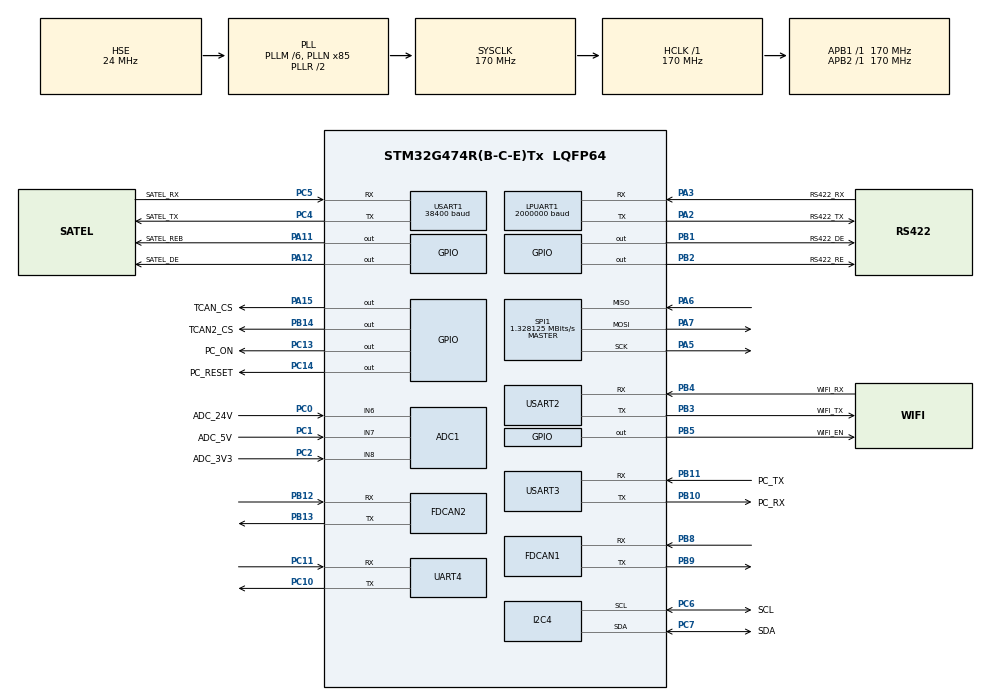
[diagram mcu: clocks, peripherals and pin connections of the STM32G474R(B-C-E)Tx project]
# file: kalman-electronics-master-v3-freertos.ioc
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ADC1.Channel-0\#ChannelRegularConversion=ADC_CHANNEL_7
ADC1.NbrOfConversionFlag=1
ADC1.OffsetNumber-0\#ChannelRegularConversion=ADC_OFFSET_NONE
ADC1.Rank-0\#ChannelRegularConversion=1
ADC1.SamplingTime-0\#ChannelRegularConversion=ADC_SAMPLETIME_2CYCLES_5
ADC1.master=1
Dma.LPUART1_RX.6.Direction=DMA_PERIPH_TO_MEMORY
Dma.LPUART1_RX.6.EventEnable=DISABLE
Dma.LPUART1_RX.6.Instance=DMA1_Channel7
Dma.LPUART1_RX.6.MemDataAlignment=DMA_MDATAALIGN_BYTE
Dma.LPUART1_RX.6.MemInc=DMA_MINC_ENABLE
Dma.LPUART1_RX.6.Mode=DMA_CIRCULAR
Dma.LPUART1_RX.6.PeriphDataAlignment=DMA_PDATAALIGN_BYTE
Dma.LPUART1_RX.6.PeriphInc=DMA_PINC_DISABLE
Dma.LPUART1_RX.6.Polarity=HAL_DMAMUX_REQ_GEN_RISING
Dma.LPUART1_RX.6.Priority=DMA_PRIORITY_LOW
Dma.LPUART1_RX.6.RequestNumber=1
Dma.LPUART1_RX.6.SignalID=NONE
Dma.LPUART1_RX.6.SyncEnable=DISABLE
Dma.LPUART1_RX.6.SyncPolarity=HAL_DMAMUX_SYNC_NO_EVENT
Dma.LPUART1_RX.6.SyncRequestNumber=1
Dma.LPUART1_RX.6.SyncSignalID=NONE
Dma.LPUART1_TX.7.Direction=DMA_MEMORY_TO_PERIPH
Dma.LPUART1_TX.7.EventEnable=DISABLE
Dma.LPUART1_TX.7.Instance=DMA1_Channel8
Dma.LPUART1_TX.7.MemDataAlignment=DMA_MDATAALIGN_BYTE
Dma.LPUART1_TX.7.MemInc=DMA_MINC_ENABLE
Dma.LPUART1_TX.7.Mode=DMA_NORMAL
Dma.LPUART1_TX.7.PeriphDataAlignment=DMA_PDATAALIGN_BYTE
Dma.LPUART1_TX.7.PeriphInc=DMA_PINC_DISABLE
Dma.LPUART1_TX.7.Polarity=HAL_DMAMUX_REQ_GEN_RISING
Dma.LPUART1_TX.7.Priority=DMA_PRIORITY_LOW
Dma.LPUART1_TX.7.RequestNumber=1
Dma.LPUART1_TX.7.SignalID=NONE
Dma.LPUART1_TX.7.SyncEnable=DISABLE
Dma.LPUART1_TX.7.SyncPolarity=HAL_DMAMUX_SYNC_NO_EVENT
Dma.LPUART1_TX.7.SyncRequestNumber=1
Dma.LPUART1_TX.7.SyncSignalID=NONE
Dma.Request0=USART1_RX
Dma.Request1=USART2_RX
Dma.Request2=USART3_RX
Dma.Request3=USART1_TX
Dma.Request4=USART2_TX
Dma.Request5=USART3_TX
Dma.Request6=LPUART1_RX
Dma.Request7=LPUART1_TX
Dma.USART1_RX.0.Direction=DMA_PERIPH_TO_MEMORY
Dma.USART1_RX.0.EventEnable=DISABLE
Dma.USART1_RX.0.Instance=DMA1_Channel1
Dma.USART1_RX.0.MemDataAlignment=DMA_MDATAALIGN_BYTE
Dma.USART1_RX.0.MemInc=DMA_MINC_ENABLE
Dma.USART1_RX.0.Mode=DMA_CIRCULAR
Dma.USART1_RX.0.PeriphDataAlignment=DMA_PDATAALIGN_BYTE
Dma.USART1_RX.0.PeriphInc=DMA_PINC_DISABLE
Dma.USART1_RX.0.Polarity=HAL_DMAMUX_REQ_GEN_RISING
Dma.USART1_RX.0.Priority=DMA_PRIORITY_LOW
Dma.USART1_RX.0.RequestNumber=1
Dma.USART1_RX.0.SignalID=NONE
Dma.USART1_RX.0.SyncEnable=DISABLE
Dma.USART1_RX.0.SyncPolarity=HAL_DMAMUX_SYNC_NO_EVENT
Dma.USART1_RX.0.SyncRequestNumber=1
Dma.USART1_RX.0.SyncSignalID=NONE
Dma.USART1_TX.3.Direction=DMA_MEMORY_TO_PERIPH
Dma.USART1_TX.3.EventEnable=DISABLE
Dma.USART1_TX.3.Instance=DMA1_Channel4
Dma.USART1_TX.3.MemDataAlignment=DMA_MDATAALIGN_BYTE
Dma.USART1_TX.3.MemInc=DMA_MINC_ENABLE
Dma.USART1_TX.3.Mode=DMA_NORMAL
Dma.USART1_TX.3.PeriphDataAlignment=DMA_PDATAALIGN_BYTE
Dma.USART1_TX.3.PeriphInc=DMA_PINC_DISABLE
Dma.USART1_TX.3.Polarity=HAL_DMAMUX_REQ_GEN_RISING
Dma.USART1_TX.3.Priority=DMA_PRIORITY_LOW
Dma.USART1_TX.3.RequestNumber=1
Dma.USART1_TX.3.SignalID=NONE
Dma.USART1_TX.3.SyncEnable=DISABLE
Dma.USART1_TX.3.SyncPolarity=HAL_DMAMUX_SYNC_NO_EVENT
Dma.USART1_TX.3.SyncRequestNumber=1
Dma.USART1_TX.3.SyncSignalID=NONE
Dma.USART2_RX.1.Direction=DMA_PERIPH_TO_MEMORY
Dma.USART2_RX.1.EventEnable=DISABLE
Dma.USART2_RX.1.Instance=DMA1_Channel2
Dma.USART2_RX.1.MemDataAlignment=DMA_MDATAALIGN_BYTE
Dma.USART2_RX.1.MemInc=DMA_MINC_ENABLE
Dma.USART2_RX.1.Mode=DMA_CIRCULAR
Dma.USART2_RX.1.PeriphDataAlignment=DMA_PDATAALIGN_BYTE
Dma.USART2_RX.1.PeriphInc=DMA_PINC_DISABLE
Dma.USART2_RX.1.Polarity=HAL_DMAMUX_REQ_GEN_RISING
Dma.USART2_RX.1.Priority=DMA_PRIORITY_LOW
Dma.USART2_RX.1.RequestNumber=1
Dma.USART2_RX.1.SignalID=NONE
Dma.USART2_RX.1.SyncEnable=DISABLE
Dma.USART2_RX.1.SyncPolarity=HAL_DMAMUX_SYNC_NO_EVENT
Dma.USART2_RX.1.SyncRequestNumber=1
Dma.USART2_RX.1.SyncSignalID=NONE
Dma.USART2_TX.4.Direction=DMA_MEMORY_TO_PERIPH
Dma.USART2_TX.4.EventEnable=DISABLE
Dma.USART2_TX.4.Instance=DMA1_Channel5
Dma.USART2_TX.4.MemDataAlignment=DMA_MDATAALIGN_BYTE
Dma.USART2_TX.4.MemInc=DMA_MINC_ENABLE
Dma.USART2_TX.4.Mode=DMA_NORMAL
Dma.USART2_TX.4.PeriphDataAlignment=DMA_PDATAALIGN_BYTE
Dma.USART2_TX.4.PeriphInc=DMA_PINC_DISABLE
Dma.USART2_TX.4.Polarity=HAL_DMAMUX_REQ_GEN_RISING
Dma.USART2_TX.4.Priority=DMA_PRIORITY_LOW
Dma.USART2_TX.4.RequestNumber=1
Dma.USART2_TX.4.SignalID=NONE
Dma.USART2_TX.4.SyncEnable=DISABLE
Dma.USART2_TX.4.SyncPolarity=HAL_DMAMUX_SYNC_NO_EVENT
Dma.USART2_TX.4.SyncRequestNumber=1
Dma.USART2_TX.4.SyncSignalID=NONE
Dma.USART3_RX.2.Direction=DMA_PERIPH_TO_MEMORY
Dma.USART3_RX.2.EventEnable=DISABLE
Dma.USART3_RX.2.Instance=DMA1_Channel3
Dma.USART3_RX.2.MemDataAlignment=DMA_MDATAALIGN_BYTE
Dma.USART3_RX.2.MemInc=DMA_MINC_ENABLE
Dma.USART3_RX.2.Mode=DMA_CIRCULAR
Dma.USART3_RX.2.PeriphDataAlignment=DMA_PDATAALIGN_BYTE
Dma.USART3_RX.2.PeriphInc=DMA_PINC_DISABLE
Dma.USART3_RX.2.Polarity=HAL_DMAMUX_REQ_GEN_RISING
Dma.USART3_RX.2.Priority=DMA_PRIORITY_LOW
Dma.USART3_RX.2.RequestNumber=1
Dma.USART3_RX.2.SignalID=NONE
Dma.USART3_RX.2.SyncEnable=DISABLE
Dma.USART3_RX.2.SyncPolarity=HAL_DMAMUX_SYNC_NO_EVENT
Dma.USART3_RX.2.SyncRequestNumber=1
Dma.USART3_RX.2.SyncSignalID=NONE
Dma.USART3_TX.5.Direction=DMA_MEMORY_TO_PERIPH
Dma.USART3_TX.5.EventEnable=DISABLE
Dma.USART3_TX.5.Instance=DMA1_Channel6
Dma.USART3_TX.5.MemDataAlignment=DMA_MDATAALIGN_BYTE
Dma.USART3_TX.5.MemInc=DMA_MINC_ENABLE
Dma.USART3_TX.5.Mode=DMA_NORMAL
Dma.USART3_TX.5.PeriphDataAlignment=DMA_PDATAALIGN_BYTE
Dma.USART3_TX.5.PeriphInc=DMA_PINC_DISABLE
Dma.USART3_TX.5.Polarity=HAL_DMAMUX_REQ_GEN_RISING
Dma.USART3_TX.5.Priority=DMA_PRIORITY_LOW
Dma.USART3_TX.5.RequestNumber=1
Dma.USART3_TX.5.SignalID=NONE
Dma.USART3_TX.5.SyncEnable=DISABLE
Dma.USART3_TX.5.SyncPolarity=HAL_DMAMUX_SYNC_NO_EVENT
Dma.USART3_TX.5.SyncRequestNumber=1
Dma.USART3_TX.5.SyncSignalID=NONE
FDCAN1.CalculateBaudRateNominal=999999
FDCAN1.CalculateTimeBitNominal=1000
FDCAN1.CalculateTimeQuantumNominal=58.82352941176471
FDCAN1.DataPrescaler=10
FDCAN1.DataTimeSeg1=8
FDCAN1.DataTimeSeg2=8
FDCAN1.Mode=FDCAN_MODE_NORMAL
FDCAN1.NominalPrescaler=10
FDCAN1.NominalTimeSeg1=8
FDCAN1.NominalTimeSeg2=8
FDCAN2.CalculateBaudRateNominal=999999
FDCAN2.CalculateTimeBitNominal=1000
FDCAN2.CalculateTimeQuantumNominal=58.82352941176471
FDCAN2.DataPrescaler=10
FDCAN2.DataTimeSeg1=8
FDCAN2.DataTimeSeg2=8
FDCAN2.NominalPrescaler=10
FDCAN2.NominalTimeSeg1=8
FDCAN2.NominalTimeSeg2=8
FREERTOS.Tasks01=idleTask,8,128,StartIdleTask,Default,NULL,Dynamic,NULL,NULL
FREERTOS.configCHECK_FOR_STACK_OVERFLOW=2
FREERTOS.configENABLE_BACKWARD_COMPATIBILITY=0
FREERTOS.configENABLE_FPU=0
FREERTOS.configLIBRARY_MAX_SYSCALL_INTERRUPT_PRIORITY=1
FREERTOS.configRECORD_STACK_HIGH_ADDRESS=1
FREERTOS.configTIMER_QUEUE_LENGTH=16
FREERTOS.configTIMER_TASK_PRIORITY=5
FREERTOS.configTIMER_TASK_STACK_DEPTH=512
FREERTOS.configTOTAL_HEAP_SIZE=40000
FREERTOS.configUSE_MALLOC_FAILED_HOOK=1
FREERTOS.configUSE_NEWLIB_REENTRANT=1
FREERTOS.configUSE_OS2_EVENTFLAGS_FROM_ISR=1
FREERTOS.configUSE_OS2_MUTEX=1
FREERTOS.configUSE_OS2_THREAD_ENUMERATE=1
FREERTOS.configUSE_OS2_THREAD_FLAGS=1
FREERTOS.configUSE_OS2_THREAD_SUSPEND_RESUME=1
FREERTOS.configUSE_OS2_TIMER=1
I2C4.Timing=0x30A0A7FB
LPUART1.BaudRate=2000000
Mcu.Family=STM32G4
Mcu.Name=STM32G474R(B-C-E)Tx
Mcu.Package=LQFP64
NVIC.DMA1_Channel1_IRQn=true\:13\:0\:true\:false\:true\:true\:false\:true\:true
NVIC.DMA1_Channel2_IRQn=true\:13\:0\:true\:false\:true\:true\:false\:true\:true
NVIC.DMA1_Channel3_IRQn=true\:13\:0\:true\:false\:true\:true\:false\:true\:true
NVIC.DMA1_Channel4_IRQn=true\:13\:0\:true\:false\:true\:true\:false\:true\:true
NVIC.DMA1_Channel5_IRQn=true\:13\:0\:true\:false\:true\:true\:false\:true\:true
NVIC.DMA1_Channel6_IRQn=true\:13\:0\:true\:false\:true\:true\:false\:true\:true
NVIC.DMA1_Channel7_IRQn=true\:1\:0\:false\:false\:true\:true\:false\:true\:true
NVIC.DMA1_Channel8_IRQn=true\:1\:0\:false\:false\:true\:true\:false\:true\:true
NVIC.FDCAN1_IT0_IRQn=true\:14\:0\:true\:false\:true\:true\:true\:true\:true
NVIC.FDCAN2_IT0_IRQn=true\:14\:0\:true\:false\:true\:true\:true\:true\:true
NVIC.LPUART1_IRQn=true\:1\:0\:false\:false\:true\:true\:true\:true\:true
NVIC.PriorityGroup=NVIC_PRIORITYGROUP_4
NVIC.TIM6_DAC_IRQn=true\:15\:0\:true\:false\:true\:false\:true\:true\:true
NVIC.TimeBase=TIM6_DAC_IRQn
NVIC.TimeBaseIP=TIM6
NVIC.USART1_IRQn=true\:13\:0\:true\:false\:true\:true\:true\:true\:true
NVIC.USART2_IRQn=true\:3\:0\:true\:false\:true\:true\:true\:true\:true
NVIC.USART3_IRQn=true\:13\:0\:true\:false\:true\:true\:true\:true\:true
PA11.GPIO_Label=SATEL_REB
PA11.PinState=GPIO_PIN_RESET
PA11.Signal=GPIO_Output
PA12.GPIO_Label=SATEL_DE
PA12.Signal=GPIO_Output
PA13.Mode=Serial_Wire
PA13.Signal=SYS_JTMS-SWDIO
PA14.Mode=Serial_Wire
PA14.Signal=SYS_JTCK-SWCLK
PA15.GPIO_Label=TCAN_CS
PA15.Signal=GPIO_Output
PA2.GPIO_Label=RS422_TX
PA2.Mode=Asynchronous
PA2.Signal=LPUART1_TX
PA3.GPIO_Label=RS422_RX
PA3.Mode=Asynchronous
PA3.Signal=LPUART1_RX
PA5.Mode=Full_Duplex_Master
PA5.Signal=SPI1_SCK
PA6.Mode=Full_Duplex_Master
PA6.Signal=SPI1_MISO
PA7.Mode=Full_Duplex_Master
PA7.Signal=SPI1_MOSI
PB1.GPIO_Label=RS422_DE
PB1.PinState=GPIO_PIN_SET
PB1.Signal=GPIO_Output
PB10.GPIO_Label=PC_RX
PB10.Mode=Asynchronous
PB10.Signal=USART3_TX
PB11.GPIO_Label=PC_TX
PB11.Mode=Asynchronous
PB11.Signal=USART3_RX
PB12.Mode=FDCAN_Activate
PB12.Signal=FDCAN2_RX
PB13.Mode=FDCAN_Activate
PB13.Signal=FDCAN2_TX
PB14.GPIO_Label=TCAN2_CS
PB14.Signal=GPIO_Output
PB2.GPIO_Label=RS422_RE
PB2.PinState=GPIO_PIN_RESET
PB2.Signal=GPIO_Output
PB3.GPIO_Label=WIFI_TX
PB3.Mode=Asynchronous
PB3.Signal=USART2_TX
PB4.GPIO_Label=WIFI_RX
PB4.Mode=Asynchronous
PB4.Signal=USART2_RX
PB5.GPIO_Label=WIFI_EN
PB5.Signal=GPIO_Output
PB8-BOOT0.Mode=FDCAN_Activate
PB8-BOOT0.Signal=FDCAN1_RX
PB9.Mode=FDCAN_Activate
PB9.Signal=FDCAN1_TX
PC0.GPIO_Label=ADC_24V
PC0.Mode=IN6-Single-Ended
PC0.Signal=ADC1_IN6
PC1.GPIO_Label=ADC_5V
PC1.Mode=IN7-Single-Ended
PC1.Signal=ADC1_IN7
PC10.Mode=Asynchronous
PC10.Signal=UART4_TX
PC11.Mode=Asynchronous
PC11.Signal=UART4_RX
PC13.GPIO_Label=PC_ON
PC13.Signal=GPIO_Output
PC14-OSC32_IN.GPIO_Label=PC_RESET
PC14-OSC32_IN.Signal=GPIO_Output
PC2.GPIO_Label=ADC_3V3
PC2.Mode=IN8-Single-Ended
PC2.Signal=ADC1_IN8
PC4.GPIO_Label=SATEL_TX
PC4.Mode=Asynchronous
PC4.Signal=USART1_TX
PC5.GPIO_Label=SATEL_RX
PC5.Mode=Asynchronous
PC5.Signal=USART1_RX
PC6.GPIO_Label=SCL
PC6.Mode=I2C
PC6.Signal=I2C4_SCL
PC7.GPIO_Label=SDA
PC7.Mode=I2C
PC7.Signal=I2C4_SDA
PF0-OSC_IN.Mode=HSE-External-Oscillator
PF0-OSC_IN.Signal=RCC_OSC_IN
PF1-OSC_OUT.Mode=HSE-External-Oscillator
PF1-OSC_OUT.Signal=RCC_OSC_OUT
ProjectManager.HeapSize=0x200
ProjectManager.StackSize=0x400
ProjectManager.TargetToolchain=STM32CubeIDE
RCC.ADC12Freq_Value=170000000
RCC.ADC345Freq_Value=170000000
RCC.AHBFreq_Value=170000000
RCC.APB1Freq_Value=170000000
RCC.APB1TimFreq_Value=170000000
RCC.APB2Freq_Value=170000000
RCC.APB2TimFreq_Value=170000000
RCC.CortexFreq_Value=170000000
RCC.EXTERNAL_CLOCK_VALUE=12288000
RCC.HCLKFreq_Value=170000000
RCC.HSE_VALUE=24000000
RCC.HSI48_VALUE=48000000
RCC.HSI_VALUE=16000000
RCC.LSE_VALUE=32768
RCC.PLLM=RCC_PLLM_DIV6
RCC.PLLN=85
RCC.PLLSourceVirtual=RCC_PLLSOURCE_HSE
RCC.PREFETCH_ENABLE=0
RCC.SYSCLKFreq_VALUE=170000000
RCC.SYSCLKSource=RCC_SYSCLKSOURCE_PLLCLK
RCC.USBFreq_Value=170000000
RCC.VCOOutputFreq_Value=340000000
SPI1.BaudRatePrescaler=SPI_BAUDRATEPRESCALER_128
SPI1.CalculateBaudRate=1.328125 MBits/s
SPI1.DataSize=SPI_DATASIZE_8BIT
SPI1.Direction=SPI_DIRECTION_2LINES
SPI1.Mode=SPI_MODE_MASTER
SPI1.VirtualType=VM_MASTER
UART4.SwapParam=UART_ADVFEATURE_SWAP_DISABLE
USART1.BaudRate=38400
USART1.DMADisableonRxErrorParam=ADVFEATURE_DMA_ENABLEONRXERROR
USART1.DataInvertParam=ADVFEATURE_DATAINV_DISABLE
USART1.FIFOMode=FIFOMODE_DISABLE
USART1.OverrunDisableParam=ADVFEATURE_OVERRUN_DISABLE
USART1.RxPinLevelInvertParam=ADVFEATURE_RXINV_DISABLE
USART1.SwapParam=ADVFEATURE_SWAP_ENABLE
USART1.TxPinLevelInvertParam=ADVFEATURE_TXINV_DISABLE
USART1.VirtualMode-Asynchronous=VM_ASYNC
USART2.DMADisableonRxErrorParam=ADVFEATURE_DMA_ENABLEONRXERROR
USART2.FIFOMode=FIFOMODE_DISABLE
USART2.OverrunDisableParam=ADVFEATURE_OVERRUN_DISABLE
USART2.SwapParam=ADVFEATURE_SWAP_ENABLE
USART2.VirtualMode-Asynchronous=VM_ASYNC
USART3.DMADisableonRxErrorParam=ADVFEATURE_DMA_ENABLEONRXERROR
USART3.FIFOMode=FIFOMODE_DISABLE
USART3.OverrunDisableParam=ADVFEATURE_OVERRUN_DISABLE
USART3.VirtualMode-Asynchronous=VM_ASYNC
VP_FREERTOS_VS_CMSIS_V2.Mode=CMSIS_V2
VP_SYS_VS_DBSignals.Mode=DisableDeadBatterySignals
VP_SYS_VS_tim6.Mode=TIM6
board=custom

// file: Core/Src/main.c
/* USER CODE BEGIN Header */
/**
  ******************************************************************************
  * @file           : main.c
  * @brief          : Main program body
  ******************************************************************************
  * @attention
  *
  * Copyright (c) 2022 STMicroelectronics.
  * All rights reserved.
  *
  * This software is licensed under terms that can be found in the LICENSE file
  * in the root directory of this software component.
  * If no LICENSE file comes with this software, it is provided AS-IS.
  *
  ******************************************************************************
  */
/* USER CODE END Header */
#include "main.h"
#include "cmsis_os.h"
#include "adc.h"
#include "dma.h"
#include "fdcan.h"
#include "i2c.h"
#include "usart.h"
#include "spi.h"
#include "gpio.h"

/* USER CODE BEGIN Includes */
#include "Bridge/Bridge.h"

/* USER CODE END Includes */

void SystemClock_Config(void);
void MX_FREERTOS_Init(void);

int main(void)
{

  /* MCU Configuration--------------------------------------------------------*/

  /* Reset of all peripherals, Initializes the Flash interface and the Systick. */
  HAL_Init();

  /* Configure the system clock */
  SystemClock_Config();

  /* Initialize all configured peripherals */
  MX_GPIO_Init();
  MX_DMA_Init();
  MX_I2C4_Init();
  MX_ADC1_Init();
  MX_FDCAN1_Init();
  MX_USART1_UART_Init();
  MX_USART2_UART_Init();
  MX_USART3_UART_Init();
  MX_SPI1_Init();
  MX_FDCAN2_Init();
  MX_UART4_Init();
  MX_LPUART1_UART_Init();
  /* USER CODE BEGIN 2 */
  Init();

  /* USER CODE END 2 */

  /* Init scheduler */
  osKernelInitialize();

  /* Call init function for freertos objects (in freertos.c) */
  MX_FREERTOS_Init();

  /* Start scheduler */
  osKernelStart();

  /* We should never get here as control is now taken by the scheduler */
  /* Infinite loop */
  while (1)
  {

  }
}

void SystemClock_Config(void)
{
  RCC_OscInitTypeDef RCC_OscInitStruct = {0};
  RCC_ClkInitTypeDef RCC_ClkInitStruct = {0};

  /** Configure the main internal regulator output voltage
  */
  HAL_PWREx_ControlVoltageScaling(PWR_REGULATOR_VOLTAGE_SCALE1_BOOST);

  /** Initializes the RCC Oscillators according to the specified parameters
  * in the RCC_OscInitTypeDef structure.
  */
  RCC_OscInitStruct.OscillatorType = RCC_OSCILLATORTYPE_HSE;
  RCC_OscInitStruct.HSEState = RCC_HSE_ON;
  RCC_OscInitStruct.PLL.PLLState = RCC_PLL_ON;
  RCC_OscInitStruct.PLL.PLLSource = RCC_PLLSOURCE_HSE;
  RCC_OscInitStruct.PLL.PLLM = RCC_PLLM_DIV6;
  RCC_OscInitStruct.PLL.PLLN = 85;
  RCC_OscInitStruct.PLL.PLLP = RCC_PLLP_DIV2;
  RCC_OscInitStruct.PLL.PLLQ = RCC_PLLQ_DIV2;
  RCC_OscInitStruct.PLL.PLLR = RCC_PLLR_DIV2;
  if (HAL_RCC_OscConfig(&RCC_OscInitStruct) != HAL_OK)
  {
    Error_Handler();
  }

  /** Initializes the CPU, AHB and APB buses clocks
  */
  RCC_ClkInitStruct.ClockType = RCC_CLOCKTYPE_HCLK|RCC_CLOCKTYPE_SYSCLK
                              |RCC_CLOCKTYPE_PCLK1|RCC_CLOCKTYPE_PCLK2;
  RCC_ClkInitStruct.SYSCLKSource = RCC_SYSCLKSOURCE_PLLCLK;
  RCC_ClkInitStruct.AHBCLKDivider = RCC_SYSCLK_DIV1;
  RCC_ClkInitStruct.APB1CLKDivider = RCC_HCLK_DIV1;
  RCC_ClkInitStruct.APB2CLKDivider = RCC_HCLK_DIV1;

  if (HAL_RCC_ClockConfig(&RCC_ClkInitStruct, FLASH_LATENCY_4) != HAL_OK)
  {
    Error_Handler();
  }
}

void HAL_TIM_PeriodElapsedCallback(TIM_HandleTypeDef *htim)
{
  if (htim->Instance == TIM6) {
    HAL_IncTick();
  }
}

void Error_Handler(void)
{
  /* USER CODE BEGIN Error_Handler_Debug */
  /* User can add his own implementation to report the HAL error return state */

  ErrorHandler();

  __disable_irq();
  while (1)
  {
  }
  /* USER CODE END Error_Handler_Debug */
}

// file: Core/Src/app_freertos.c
/* USER CODE BEGIN Header */
/**
  ******************************************************************************
  * File Name          : app_freertos.c
  * Description        : Code for freertos applications
  ******************************************************************************
  * @attention
  *
  * Copyright (c) 2022 STMicroelectronics.
  * All rights reserved.
  *
  * This software is licensed under terms that can be found in the LICENSE file
  * in the root directory of this software component.
  * If no LICENSE file comes with this software, it is provided AS-IS.
  *
  ******************************************************************************
  */
/* USER CODE END Header */

#include "FreeRTOS.h"
#include "task.h"
#include "main.h"
#include "cmsis_os.h"

/* USER CODE BEGIN Includes */
#include "handler/uart_parser.h"
#include "handler/uart_encoder.h"
#include "handler/uart_packet_handler.h"
#include "handler/can_manager.h"
#include "handler/can_packet_handler.h"
#include "shared/gpio_expander.h"
#include "shared/common.h"
#include "stdio.h"
/* USER CODE END Includes */

/* USER CODE BEGIN Variables */

// Task handles
TaskHandle_t UARTParser_TaskHandle;

/* USER CODE END Variables */
/* Definitions for idleTask */
osThreadId_t idleTaskHandle;
const osThreadAttr_t idleTask_attributes = {
  .name = "idleTask",
  .priority = (osPriority_t) osPriorityLow,
  .stack_size = 128 * 4
};

void StartIdleTask(void *argument);

void MX_FREERTOS_Init(void); /* (MISRA C 2004 rule 8.1) */

/* Hook prototypes */
void vApplicationStackOverflowHook(TaskHandle_t xTask, signed char *pcTaskName);
void vApplicationMallocFailedHook(void);

/* USER CODE BEGIN 4 */
void vApplicationStackOverflowHook(TaskHandle_t xTask, signed char *pcTaskName)
{
   /* Run time stack overflow checking is performed if
   configCHECK_FOR_STACK_OVERFLOW is defined to 1 or 2. This hook function is
   called if a stack overflow is detected. */
}
/* USER CODE END 4 */

/* USER CODE BEGIN 5 */
void StatusTask() {
	while (1) {
		debug_printf("Queue backlog RX: %d TX: %d\n", (int)uxQueueMessagesWaiting(uart_handler_incoming_packet_queue), (int)uxQueueMessagesWaiting(uart_handler_outgoing_packet_queue));
		debug_printf("Parser  [0] head: %d tail: %d\n", parser_defs[0].rx_parser_buf_head, parser_defs[0].rx_parser_buf_tail);
		debug_printf("Encoder [0] head: %d tail: %d\n", encoder_defs[0].tx_dma_buf_head, encoder_defs[0].tx_dma_buf_tail);

		vTaskDelay(500 / portTICK_PERIOD_MS);
	}
}

void vApplicationMallocFailedHook(void)
{
   /* vApplicationMallocFailedHook() will only be called if
   configUSE_MALLOC_FAILED_HOOK is set to 1 in FreeRTOSConfig.h. It is a hook
   function that will get called if a call to pvPortMalloc() fails.
   pvPortMalloc() is called internally by the kernel whenever a task, queue,
   timer or semaphore is created. It is also called by various parts of the
   demo application. If heap_1.c or heap_2.c are used, then the size of the
   heap available to pvPortMalloc() is defined by configTOTAL_HEAP_SIZE in
   FreeRTOSConfig.h, and the xPortGetFreeHeapSize() API function can be used
   to query the size of free heap space that remains (although it does not
   provide information on how the remaining heap might be fragmented). */
}
/* USER CODE END 5 */

void MX_FREERTOS_Init(void) {

  /* Create the thread(s) */
  /* creation of idleTask */
  idleTaskHandle = osThreadNew(StartIdleTask, NULL, &idleTask_attributes);

  /* USER CODE BEGIN RTOS_THREADS */
    configASSERT(xTaskCreate(CanManager_Task,  "CAN_Manager",  512, NULL, 9,  NULL));
    configASSERT(xTaskCreate(CANHandler_Task,  "CAN_Handler",  256, NULL, 10, NULL));
    configASSERT(xTaskCreate(UARTParser_Task,  "UART_Parser",  1024, NULL, 6,  &UARTParser_TaskHandle));
    configASSERT(xTaskCreate(UARTEncoder_Task, "UART_Encoder", 1024, NULL, 8,  NULL));
    configASSERT(xTaskCreate(UARTHandler_Task, "UART_Handler", 512, NULL, 7,  NULL));
    configASSERT(xTaskCreate(GpioExpander_Task,"GpioExpander", 128, NULL, 5,  NULL));
    //configASSERT(xTaskCreate(StatusTask,       "status", 512, NULL, 5,  NULL));
  /* USER CODE END RTOS_THREADS */

}

void StartIdleTask(void *argument)
{
  for(;;)
  {
    osDelay(1);
  }
}
